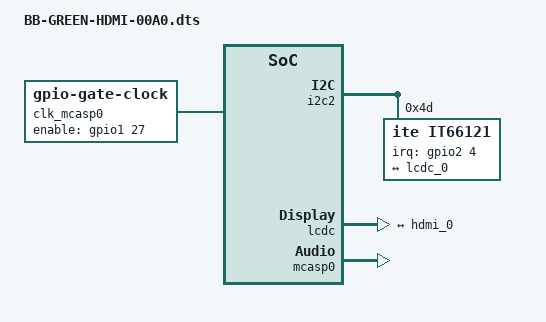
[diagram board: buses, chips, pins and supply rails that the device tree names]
/*
 * 2017 Copyright (c) Seeed Technology Inc.  All right reserved.
 * Author:Baozhu Zuo <zuobaozhu@gmail.com>
 *
 * This program is free software; you can redistribute it and/or modify
 * it under the terms of the GNU General Public License version 2 as
 * published by the Free Software Foundation.
 */
/dts-v1/;
/plugin/;

#include <dt-bindings/board/am335x-bbw-bbb-base.h>
#include <dt-bindings/pinctrl/am33xx.h>

/ {
	compatible = "ti,beaglebone", "ti,beaglebone-black", "ti,beaglebone-green";

	/* identification */
	part-number = "BB-GREEN-HDMI";
	version = "00A0";

	/* state the resources this cape uses */
	exclusive-use =
		/* the display pin header uses */
		"P8.7",	    /* hdmi nrst: gpio2_2 */
		"P8.8",	    /* hdmi en: gpio2_3 */
		"P8.10",    /* hdmi int: gpio2_4 */
		"P8.45",	/* lcd: lcd_data0 */
		"P8.46",	/* lcd: lcd_data1 */
		"P8.43",	/* lcd: lcd_data2 */
		"P8.44",	/* lcd: lcd_data3 */
		"P8.41",	/* lcd: lcd_data4 */
		"P8.42",	/* lcd: lcd_data5 */
		"P8.39",	/* lcd: lcd_data6 */
		"P8.40",	/* lcd: lcd_data7 */
		"P8.37",	/* lcd: lcd_data8 */
		"P8.38",	/* lcd: lcd_data9 */
		"P8.36",	/* lcd: lcd_data10 */
		"P8.34",	/* lcd: lcd_data11 */
		"P8.35",	/* lcd: lcd_data12 */
		"P8.33",	/* lcd: lcd_data13 */
		"P8.31",	/* lcd: lcd_data14 */
		"P8.32",	/* lcd: lcd_data15 */
		"P8.27",	/* lcd: lcd_vsync */
		"P8.29",	/* lcd: lcd_hsync */
		"P8.28",	/* lcd: lcd_pclk */
		"P8.30",	/* lcd: lcd_ac_bias_en */

		/* the audio pin header uses */
		"P9.31",	/* mcasp0: mcasp0_aclkx */
		"P9.29",	/* mcasp0: mcasp0_fsx */
		"P9.28",	/* mcasp0: mcasp0_axr2 */
        "P9.25",	/* mcasp0: mcasp0_axr2 */
        
		/* the hardware IP uses */
		"gpio2_2",
        "gpio1_27",
		"gpio2_3",
		"gpio2_4",        
        "mcasp0",
		"lcd";

	fragment@0 {
		target = <&am33xx_pinmux>;
		__overlay__ {


			bb_lcd_pins: pinmux_bb_lcd_pins {
				pinctrl-single,pins = <

					BONE_P8_07 (PIN_OUTPUT_PULLDOWN | MUX_MODE7) /* gpio2_2, OUTPUT | MODE7  */
					BONE_P8_08 (PIN_OUTPUT_PULLDOWN | MUX_MODE7) /* gpio2_3, OUTPUT | MODE7  */
					BONE_P8_10 (PIN_INPUT | MUX_MODE7) /* gpio2_4, INTPUT | MODE7  */

					BONE_P8_45 (PIN_OUTPUT | MUX_MODE0) /* lcd_data0.lcd_data0 */
					BONE_P8_46 (PIN_OUTPUT | MUX_MODE0) /* lcd_data1.lcd_data1 */
					BONE_P8_43 (PIN_OUTPUT | MUX_MODE0) /* lcd_data2.lcd_data2 */
					BONE_P8_44 (PIN_OUTPUT | MUX_MODE0) /* lcd_data3.lcd_data3 */
					BONE_P8_41 (PIN_OUTPUT | MUX_MODE0) /* lcd_data4.lcd_data4 */
					BONE_P8_42 (PIN_OUTPUT | MUX_MODE0) /* lcd_data5.lcd_data5 */
					BONE_P8_39 (PIN_OUTPUT | MUX_MODE0) /* lcd_data6.lcd_data6 */
					BONE_P8_40 (PIN_OUTPUT | MUX_MODE0) /* lcd_data7.lcd_data7 */
					BONE_P8_37 (PIN_OUTPUT | MUX_MODE0) /* lcd_data8.lcd_data8 */
					BONE_P8_38 (PIN_OUTPUT | MUX_MODE0) /* lcd_data9.lcd_data9 */
					BONE_P8_36 (PIN_OUTPUT | MUX_MODE0) /* lcd_data10.lcd_data10 */
					BONE_P8_34 (PIN_OUTPUT | MUX_MODE0) /* lcd_data11.lcd_data11 */
					BONE_P8_35 (PIN_OUTPUT | MUX_MODE0) /* lcd_data12.lcd_data12 */
					BONE_P8_33 (PIN_OUTPUT | MUX_MODE0) /* lcd_data13.lcd_data13 */
					BONE_P8_31 (PIN_OUTPUT | MUX_MODE0) /* lcd_data14.lcd_data14 */
					BONE_P8_32 (PIN_OUTPUT | MUX_MODE0) /* lcd_data15.lcd_data15 */

					BONE_P8_27 (PIN_OUTPUT | MUX_MODE0) /* lcd_vsync.lcd_vsync */
					BONE_P8_29 (PIN_OUTPUT | MUX_MODE0) /* lcd_hsync.lcd_hsync */
					BONE_P8_28 (PIN_OUTPUT | MUX_MODE0) /* lcd_pclk.lcd_pclk */
					BONE_P8_30 (PIN_OUTPUT | MUX_MODE0) /* lcd_ac_bias_en.lcd_ac_bias_en */
				>;
			};
            mcasp0_pins: mcasp0_pins {
                pinctrl-single,pins = <
                    BONE_P9_25 (PIN_INPUT_PULLUP | MUX_MODE0) /* mcasp0_ahcklx.mcasp0_ahclkx */
                    BONE_P9_28 (PIN_OUTPUT_PULLDOWN | MUX_MODE2) /* mcasp0_ahclkr.mcasp0_axr2*/
                    BONE_P9_29 (PIN_OUTPUT_PULLUP | MUX_MODE0) /* mcasp0_fsx.mcasp0_fsx */
                    BONE_P9_31 (PIN_OUTPUT_PULLDOWN | MUX_MODE0) /* mcasp0_aclkx.mcasp0_aclkx */
                >;
            };            
		};
	};
	fragment@1 {
		target = <&i2c2>;        
		__overlay__ {
            status = "okay";
            #address-cells = <1>;
            #size-cells = <0>;            
            it66121: it66121 {         
                compatible = "ite,it66121";
                reg = <0x4d>;
                pinctrl-names = "default";
                pinctrl-0 = <&bb_lcd_pins>;
                
                #sound-dai-cells = <0>;
                
                interrupt-parent = <&gpio2>;
                interrupts = <4 1>;
                ports {
                    port@0 {
                        hdmi_0: endpoint@0 {
                            remote-endpoint = <&lcdc_0>;
                        };
                    };
                };
            };
        };
	};
	fragment@2 {
		target = <&lcdc>;
		__overlay__ {
			status = "okay";
            port {
                lcdc_0: endpoint@0 {
                    remote-endpoint = <&hdmi_0>;
                };
            };            
		};
	};
	fragment@3 {
		target = <&mcasp0>;
		__overlay__ {
            #sound-dai-cells = <0>;
            pinctrl-names = "default";
            pinctrl-0 = <&mcasp0_pins>;
            status = "okay";
            op-mode = <0>;	/* MCASP_IIS_MODE */
            tdm-slots = <2>;
            serial-dir = <	/* 0: INACTIVE, 1: TX, 2: RX */
                    0 0 1 0
                >;
            tx-num-evt = <32>;
            rx-num-evt = <32>;         
		};
	}; 
	fragment@4 {
		target-path="/";
		__overlay__ {  
			clk_mcasp0_fixed: clk_mcasp0_fixed {
				#clock-cells = <0>;
				compatible = "fixed-clock";
				clock-frequency = <24576000>;
			};

			clk_mcasp0: clk_mcasp0 {
				#clock-cells = <0>;
				compatible = "gpio-gate-clock";
				clocks = <&clk_mcasp0_fixed>;
				enable-gpios = <&gpio1 27 0>; /* BeagleBone Black Clk enable on GPIO1_27 */
			};        
			sound {
				compatible = "simple-audio-card";
				simple-audio-card,name = "TI BeagleBone Green HDMI cape";
				simple-audio-card,format = "i2s";
				simple-audio-card,bitclock-master = <&sound_master>;
				simple-audio-card,frame-master = <&sound_master>;

				sound_master: simple-audio-card,cpu {
					sound-dai = <&mcasp0>;
                    clocks = <&clk_mcasp0>;
				};
		        simple-audio-card,codec {
					sound-dai = <&it66121>;
				};
			};
		};

	}; 
};
